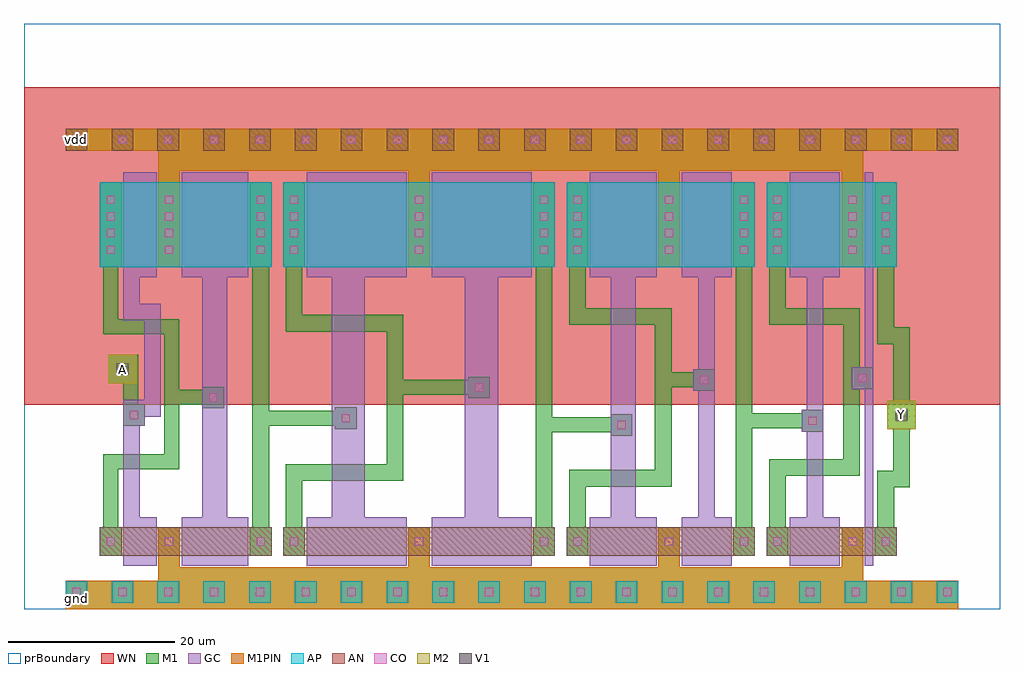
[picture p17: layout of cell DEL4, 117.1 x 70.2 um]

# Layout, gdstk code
import gdstk
lib = gdstk.Library(unit=1e-6, precision=1e-09)
def R(c, l, rs):  # rectangles x0, y0, x1, y1
    for r in rs: c.add(gdstk.rectangle(r[:2], r[2:], *l))
def A(c, l, x, y, w, h, nx, ny, dx, dy):  # array of equal rectangles
    R(c, l, [(x+i*dx, y+j*dy, x+i*dx+w, y+j*dy+h) for i in range(nx) for j in range(ny)])
def P(c, l, *ps):  # polygons
    for p in ps: c.add(gdstk.Polygon(p, *l))
AP = (3, 1)
AN = (3, 2)
GC = (8, 1)
CO = (11, 0)
M1 = (13, 0)
V1 = (19, 0)
M2 = (20, 0)
M1PIN = (48, 1)
WN = (140, 0)
prBoundary = (235, 4)

del4 = lib.new_cell('DEL4')
A(del4, AP, 5, 0.75, 2.6, 2.6, 20, 1, 5.5, 0)
R(del4, AP, [(9.1,41,29.7,51.2), (31.1,41,63.7,51.2), (65.1,41,87.7,51.2), (89.1,41,104.7,51.2)])
A(del4, AN, 5, 55, 2.6, 2.6, 20, 1, 5.5, 0)
R(del4, AN, [(9.1,6.4,29.7,9.8), (31.1,6.4,63.7,9.8), (65.1,6.4,87.7,9.8), (89.1,6.4,104.7,9.8)])
P(del4, GC, [(11.9,5.2),(11.9,25.1),(14.4,25.1),(14.4,34.6),(11.9,34.6),(11.9,52.4),(15.9,52.4),(15.9,39.8),(13.9,39.8),(13.9,36.6),(16.4,36.6),(16.4,23.1),(14.5,23.1),(14.5,22),(13.9,22),(13.9,11),(15.9,11),(15.9,5.2)],
  [(18.9,5.2),(18.9,11),(21.4,11),(21.4,39.8),(18.9,39.8),(18.9,52.4),(26.9,52.4),(26.9,39.8),(24.4,39.8),(24.4,11),(26.9,11),(26.9,5.2)],
  [(33.9,5.2),(33.9,11),(36.9,11),(36.9,39.8),(33.9,39.8),(33.9,52.4),(45.9,52.4),(45.9,39.8),(40.9,39.8),(40.9,11),(45.9,11),(45.9,5.2)],
  [(48.9,5.2),(48.9,11),(52.9,11),(52.9,39.8),(48.9,39.8),(48.9,52.4),(60.9,52.4),(60.9,39.8),(56.9,39.8),(56.9,11),(60.9,11),(60.9,5.2)],
  [(67.9,5.2),(67.9,11),(70.4,11),(70.4,39.8),(67.9,39.8),(67.9,52.4),(75.9,52.4),(75.9,39.8),(73.4,39.8),(73.4,11),(75.9,11),(75.9,5.2)],
  [(78.9,5.2),(78.9,11),(80.9,11),(80.9,26.2),(80.3,26.2),(80.3,28.8),(80.9,28.8),(80.9,39.8),(78.9,39.8),(78.9,52.4),(84.9,52.4),(84.9,39.8),(82.9,39.8),(82.9,11),(84.9,11),(84.9,5.2)],
  [(91.9,5.2),(91.9,11),(93.9,11),(93.9,21.3),(93.3,21.3),(93.3,23.9),(93.9,23.9),(93.9,39.8),(91.9,39.8),(91.9,52.4),(97.9,52.4),(97.9,39.8),(95.9,39.8),(95.9,11),(97.9,11),(97.9,5.2)],
  [(100.9,5.2),(100.9,26.4),(99.3,26.4),(99.3,29),(100.9,29),(100.9,52.4),(101.9,52.4),(101.9,5.2)])
A(del4, CO, 5.8, 1.55, 1, 1, 20, 2, 5.5, 54.25)
A(del4, CO, 9.9, 42.6, 1, 1, 1, 4, 0, 2)
A(del4, CO, 27.9, 42.6, 1, 1, 1, 4, 0, 2)
A(del4, CO, 31.9, 42.6, 1, 1, 1, 4, 0, 2)
A(del4, CO, 61.9, 42.6, 1, 1, 1, 4, 0, 2)
A(del4, CO, 65.9, 42.6, 1, 1, 1, 4, 0, 2)
A(del4, CO, 85.9, 42.6, 1, 1, 1, 4, 0, 2)
A(del4, CO, 89.9, 42.6, 1, 1, 1, 4, 0, 2)
A(del4, CO, 102.9, 42.6, 1, 1, 1, 4, 0, 2)
R(del4, CO, [(9.9,7.6,10.9,8.6), (16.9,7.6,17.9,8.6), (16.9,7.6,17.9,8.6), (27.9,7.6,28.9,8.6), (31.9,7.6,32.9,8.6), (46.9,7.6,47.9,8.6), (46.9,7.6,47.9,8.6), (61.9,7.6,62.9,8.6), (65.9,7.6,66.9,8.6), (76.9,7.6,77.9,8.6), (76.9,7.6,77.9,8.6), (85.9,7.6,86.9,8.6), (89.9,7.6,90.9,8.6), (98.9,7.6,99.9,8.6), (98.9,7.6,99.9,8.6), (102.9,7.6,103.9,8.6), (71.2,21.6,72.2,22.6), (94.1,22.1,95.1,23.1), (38.1,22.4,39.1,23.4), (12.7,22.8,13.7,23.8), (22.2,24.9,23.2,25.9), (54.1,26.1,55.1,27.1), (81.1,27,82.1,28), (100.1,27.2,101.1,28.2), (16.9,42.6,17.9,43.6), (16.9,42.6,17.9,43.6), (46.9,42.6,47.9,43.6), (46.9,42.6,47.9,43.6), (76.9,42.6,77.9,43.6), (76.9,42.6,77.9,43.6), (98.9,42.6,99.9,43.6), (98.9,42.6,99.9,43.6), (16.9,44.6,17.9,45.6), (16.9,44.6,17.9,45.6), (46.9,44.6,47.9,45.6), (46.9,44.6,47.9,45.6), (76.9,44.6,77.9,45.6), (76.9,44.6,77.9,45.6), (98.9,44.6,99.9,45.6), (98.9,44.6,99.9,45.6), (16.9,46.6,17.9,47.6), (16.9,46.6,17.9,47.6), (46.9,46.6,47.9,47.6), (46.9,46.6,47.9,47.6), (76.9,46.6,77.9,47.6), (76.9,46.6,77.9,47.6), (98.9,46.6,99.9,47.6), (98.9,46.6,99.9,47.6), (16.9,48.6,17.9,49.6), (16.9,48.6,17.9,49.6), (46.9,48.6,47.9,49.6), (46.9,48.6,47.9,49.6), (76.9,48.6,77.9,49.6), (76.9,48.6,77.9,49.6), (98.9,48.6,99.9,49.6), (98.9,48.6,99.9,49.6)])
R(del4, M1, [(5,2.6,16.1,3.4), (100.7,2.6,112.1,3.4)])
P(del4, M1, [(5,0),(5,2.6),(16.1,2.6),(16.1,9.8),(18.7,9.8),(18.7,5),(46.1,5),(46.1,9.8),(48.7,9.8),(48.7,5),(76.1,5),(76.1,9.8),(78.7,9.8),(78.7,5),(98.1,5),(98.1,9.8),(100.7,9.8),(100.7,2.6),(112.1,2.6),(112.1,0)],
  [(11.9,22),(11.9,27.1),(10.1,27.1),(10.1,30.5),(13.7,30.5),(13.7,24.6),(14.5,24.6),(14.5,22)],
  [(9.1,6.4),(9.1,9.8),(9.5,9.8),(9.5,18.6),(16.8,18.6),(16.8,33),(9.5,33),(9.5,41),(9.1,41),(9.1,51.2),(11.7,51.2),(11.7,41),(11.3,41),(11.3,34.8),(18.6,34.8),(18.6,26.3),(21.4,26.3),(21.4,26.7),(24,26.7),(24,24.1),(21.4,24.1),(21.4,24.5),(18.6,24.5),(18.6,16.8),(11.3,16.8),(11.3,9.8),(11.7,9.8),(11.7,6.4)],
  [(27.1,6.4),(27.1,9.8),(27.4,9.8),(27.4,41),(27.1,41),(27.1,51.2),(29.7,51.2),(29.7,41),(29.4,41),(29.4,23.8),(37.3,23.8),(37.3,24.2),(39.9,24.2),(39.9,21.6),(37.3,21.6),(37.3,22),(29.4,22),(29.4,9.8),(29.7,9.8),(29.7,6.4)],
  [(31.1,6.4),(31.1,9.8),(31.4,9.8),(31.4,17.4),(43.5,17.4),(43.5,33.3),(31.4,33.3),(31.4,41),(31.1,41),(31.1,51.2),(33.7,51.2),(33.7,41),(33.4,41),(33.4,35.3),(45.5,35.3),(45.5,27.5),(53.3,27.5),(53.3,27.9),(55.9,27.9),(55.9,25.3),(53.3,25.3),(53.3,25.7),(45.5,25.7),(45.5,15.4),(33.4,15.4),(33.4,9.8),(33.7,9.8),(33.7,6.4)],
  [(61.1,6.4),(61.1,9.8),(61.4,9.8),(61.4,41),(61.1,41),(61.1,51.2),(63.7,51.2),(63.7,41),(63.4,41),(63.4,23),(70.4,23),(70.4,23.4),(73,23.4),(73,20.8),(70.4,20.8),(70.4,21.2),(63.4,21.2),(63.4,9.8),(63.7,9.8),(63.7,6.4)],
  [(65.1,6.4),(65.1,9.8),(65.4,9.8),(65.4,16.7),(75.7,16.7),(75.7,34.1),(65.4,34.1),(65.4,41),(65.1,41),(65.1,51.2),(67.7,51.2),(67.7,41),(67.4,41),(67.4,36.1),(77.7,36.1),(77.7,28.4),(80.3,28.4),(80.3,28.8),(82.9,28.8),(82.9,26.2),(80.3,26.2),(80.3,26.6),(77.7,26.6),(77.7,14.7),(67.4,14.7),(67.4,9.8),(67.7,9.8),(67.7,6.4)],
  [(85.1,6.4),(85.1,9.8),(85.4,9.8),(85.4,41),(85.1,41),(85.1,51.2),(87.7,51.2),(87.7,41),(87.4,41),(87.4,23.5),(93.3,23.5),(93.3,23.9),(95.9,23.9),(95.9,21.3),(93.3,21.3),(93.3,21.7),(87.4,21.7),(87.4,9.8),(87.7,9.8),(87.7,6.4)],
  [(89.1,6.4),(89.1,9.8),(89.4,9.8),(89.4,18),(98.3,18),(98.3,34.1),(89.4,34.1),(89.4,41),(89.1,41),(89.1,51.2),(91.7,51.2),(91.7,41),(91.4,41),(91.4,36.1),(100.3,36.1),(100.3,29),(101.9,29),(101.9,26.4),(100.3,26.4),(100.3,16),(91.4,16),(91.4,9.8),(91.7,9.8),(91.7,6.4)],
  [(102.1,6.4),(102.1,9.8),(102.4,9.8),(102.4,16.6),(104.3,16.6),(104.3,21.6),(103.6,21.6),(103.6,25),(104.3,25),(104.3,31.8),(102.4,31.8),(102.4,41),(102.1,41),(102.1,51.2),(104.7,51.2),(104.7,41),(104.4,41),(104.4,33.8),(106.3,33.8),(106.3,25),(107,25),(107,21.6),(106.3,21.6),(106.3,14.6),(104.4,14.6),(104.4,9.8),(104.7,9.8),(104.7,6.4)],
  [(16.1,41),(16.1,55),(5,55),(5,57.6),(112.1,57.6),(112.1,55),(100.7,55),(100.7,41),(98.1,41),(98.1,52.6),(78.7,52.6),(78.7,41),(76.1,41),(76.1,52.6),(48.7,52.6),(48.7,41),(46.1,41),(46.1,52.6),(18.7,52.6),(18.7,41)])
R(del4, V1, [(104.6,22.6,106,24), (11.1,28.1,12.5,29.5)])
R(del4, M2, [(103.6,21.6,107,25), (10.1,27.1,13.5,30.5)])
A(del4, M1PIN, 16.1, 5, 2.6, 4.8, 3, 1, 30, 0)
A(del4, M1PIN, 16.1, 41, 2.6, 11.6, 3, 1, 30, 0)
R(del4, M1PIN, [(5,0,112.1,3.4), (16.1,3.4,100.7,5), (98.1,5,100.7,9.8), (98.1,41,100.7,52.6), (16.1,52.6,100.7,55), (5,55,112.1,57.6)])
R(del4, WN, [(0,24.5,117.1,62.6)])
R(del4, prBoundary, [(0,0,117.1,70.2)])
del4.add(gdstk.Label('A', (11.8,28.8), layer=49, texttype=0))
del4.add(gdstk.Label('Y', (105.3,23.3), layer=49, texttype=0))
del4.add(gdstk.Label('vdd', (6.3,56.3), layer=48, texttype=0))
del4.add(gdstk.Label('vdd', (6.3,56.3), layer=48, texttype=0))
del4.add(gdstk.Label('Y', (105.3,23.3), layer=48, texttype=0))
del4.add(gdstk.Label('A', (11.8,28.8), layer=48, texttype=0))
del4.add(gdstk.Label('A', (11.8,28.8), layer=48, texttype=0))
del4.add(gdstk.Label('gnd', (6.3,1.3), layer=48, texttype=0))

lib.write_gds('DEL4.gds')
